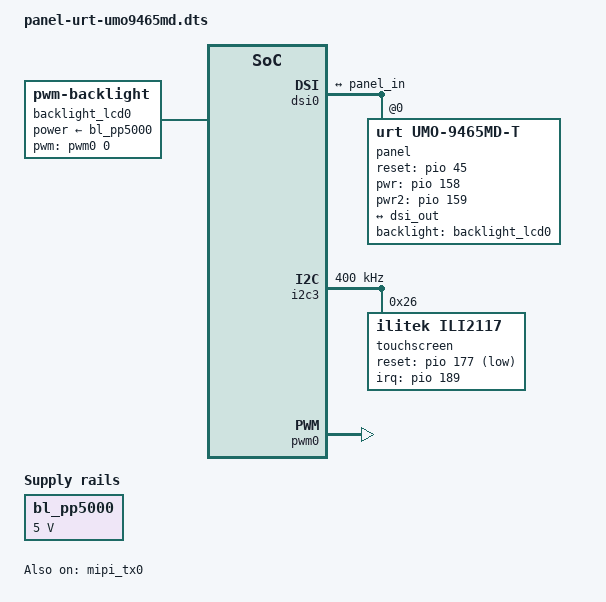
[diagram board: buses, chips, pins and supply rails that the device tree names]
/dts-v1/;
/plugin/;

#include "dt-bindings/interrupt-controller/irq.h"
#include <dt-bindings/gpio/gpio.h>
#include <dt-bindings/pinctrl/mt8183-pinfunc.h>

/ {
	fragment@0 {
		target = <&dsi0>;
		__overlay__ {
			status = "okay";
			#address-cells = <1>;
			#size-cells = <0>;

			panel: panel@0 {
				compatible = "urt,umo-9465md-t";
				reg = <0>;
				pinctrl-names = "default";
				pinctrl-0 = <&panel_pins_default>;
				backlight = <&backlight_lcd0>;
				reset-gpios = <&pio 45 0>;
				pwr-gpios = <&pio 158 0>;
				pwr2-gpios = <&pio 159 0>;
				status = "okay";

				port {
					panel_in: endpoint {
						remote-endpoint = <&dsi_out>;
					};
				};
			};

			ports {
				port {
					dsi_out: endpoint {
						remote-endpoint = <&panel_in>;
					};
				};
			};
		};
	};

	fragment@1 {
		target = <&mipi_tx0>;
		__overlay__ {
			status = "okay";
		};
	};

	fragment@2 {
		target-path = "/";
		__overlay__ {
			backlight_lcd0: backlight_lcd0 {
				compatible = "pwm-backlight";
				pwms = <&pwm0 0 20000>;
				power-supply = <&bl_pp5000>;
				brightness-levels = <0 1023>;
				num-interpolated-steps = <1023>;
				default-brightness-level = <576>;
				status = "okay";
			};

			bl_pp5000: regulator@1 {
				compatible = "regulator-fixed";
				regulator-name = "bl_pp5000";
				regulator-min-microvolt = <5000000>;
				regulator-max-microvolt = <5000000>;
				regulator-always-on;
				regulator-boot-on;
			};
		};
	};

	fragment@3 {
		target = <&i2c3>;
		__overlay__ {
			#address-cells = <1>;
			#size-cells = <0>;
			clock-frequency = <400000>;

			touchscreen@26 {
				compatible = "ilitek,ili2117";
				reg = <0x26>;
				pinctrl-names = "default";
				pinctrl-0 = <&ctp_pins_default>;
				wakeup-source;
				interrupt-parent = <&pio>;
				interrupts = <189 IRQ_TYPE_EDGE_FALLING>;
				reset-gpios = <&pio 177 GPIO_ACTIVE_LOW>;
			};
		};
	};

	fragment@4 {
		target = <&pwm0>;
		__overlay__ {
			status = "okay";
			pinctrl-names = "default";
			pinctrl-0 = <&pwm0_pin_default>;
		};
	};

	fragment@5 {
		target = <&pio>;
		__overlay__ {
			panel_pins_default: panel_pins_default {
				panel_reset {
					pinmux = <PINMUX_GPIO45__FUNC_GPIO45>;
					output-low;
					bias-pull-up;
				};
			};

			ctp_pins_default: ctp_pins_default {
				pins_eint_ctp {
					pinmux = <PINMUX_GPIO176__FUNC_GPIO176>;
					input-enable;
					bias-disable;
				};

				pins_rst_ctp {
					pinmux = <PINMUX_GPIO177__FUNC_GPIO177>;
					output-low;
				};
			};

			pwm0_pin_default: pwm0_pin_default {
				disp_pwm {
					pinmux = <PINMUX_GPIO43__FUNC_DISP_PWM>;
				};
			};
		};
	};
};

